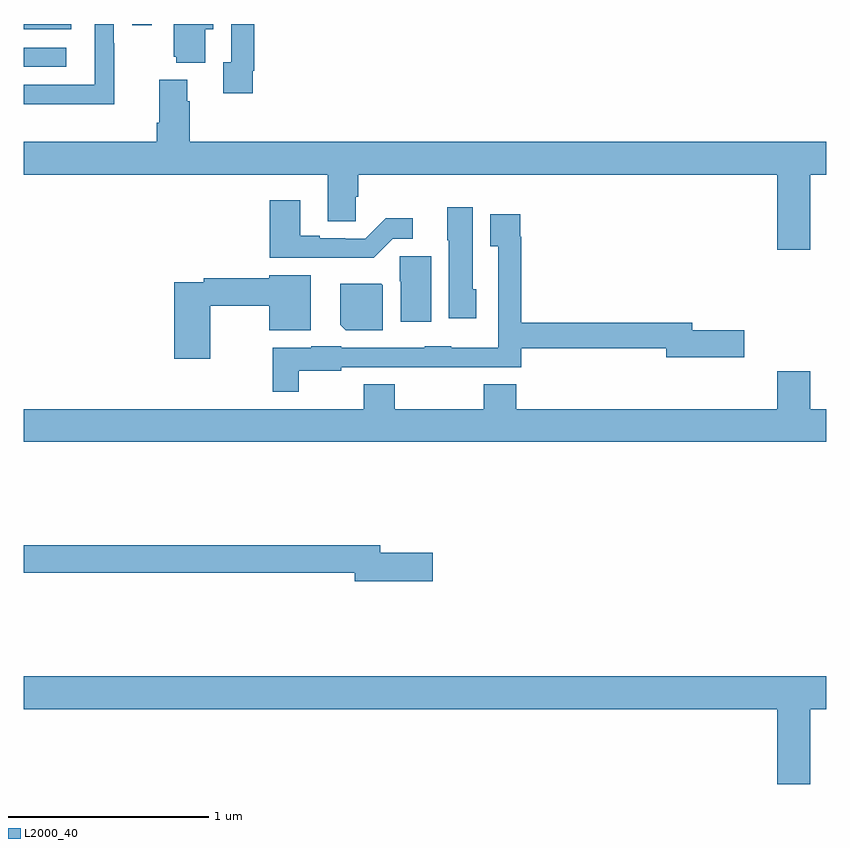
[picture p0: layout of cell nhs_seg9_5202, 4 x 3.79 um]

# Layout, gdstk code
import gdstk
lib = gdstk.Library(unit=1e-6, precision=1e-09)
def R(c, l, rs):  # rectangles x0, y0, x1, y1
    for r in rs: c.add(gdstk.rectangle(r[:2], r[2:], *l))
def P(c, l, *ps):  # polygons
    for p in ps: c.add(gdstk.Polygon(p, *l))
L2000_40 = (2000, 40)

nhs_seg9_5202 = lib.new_cell('nhs_seg9_5202')
R(nhs_seg9_5202, L2000_40, [(413,1202.286,413.212,1202.382), (413,1202.474,413.236,1202.5), (413.541,1202.493,413.637,1202.5)])
P(nhs_seg9_5202, L2000_40, [(414.142,1202.266),(414.149,1202.266),(414.149,1202.5),(414.033,1202.5),(414.033,1202.31),(413.993,1202.31),(413.993,1202.154),(414.142,1202.154)],
  [(413.451,1202.405),(413.448,1202.405),(413.448,1202.5),(413.352,1202.5),(413.352,1202.196),(413,1202.196),(413,1202.099),(413.451,1202.099)],
  [(413.905,1202.474),(413.944,1202.474),(413.944,1202.5),(413.747,1202.5),(413.747,1202.337),(413.759,1202.337),(413.759,1202.306),(413.905,1202.306)],
  [(416.92,1201.748),(417,1201.748),(417,1201.912),(413.828,1201.912),(413.828,1202.114),(413.815,1202.114),(413.815,1202.221),(413.675,1202.221),(413.675,1202.008),(413.663,1202.008),(413.663,1201.912),(413,1201.912),(413,1201.748),(414.515,1201.748),(414.515,1201.516),(414.654,1201.516),(414.654,1201.638),(414.668,1201.638),(414.668,1201.748),(416.756,1201.748),(416.756,1201.374),(416.92,1201.374)],
  [(414.84,1201.428),(414.94,1201.428),(414.94,1201.531),(414.805,1201.531),(414.702,1201.428),(414.602,1201.428),(414.602,1201.431),(414.475,1201.431),(414.475,1201.444),(414.379,1201.444),(414.379,1201.621),(414.227,1201.621),(414.227,1201.334),(414.745,1201.334)],
  [(415.255,1201.176),(415.237,1201.176),(415.237,1201.585),(415.112,1201.585),(415.112,1201.422),(415.118,1201.422),(415.118,1201.032),(415.255,1201.032)],
  [(414.37,1200.77),(414.582,1200.77),(414.582,1200.789),(414.999,1200.789),(414.999,1200.788),(415.231,1200.788),(415.231,1200.789),(415.481,1200.789),(415.481,1200.882),(416.204,1200.882),(416.204,1200.839),(416.593,1200.839),(416.593,1200.974),(416.332,1200.974),(416.332,1201.01),(415.481,1201.01),(415.481,1201.439),(415.474,1201.439),(415.474,1201.552),(415.325,1201.552),(415.325,1201.391),(415.365,1201.391),(415.365,1200.886),(415.131,1200.886),(415.131,1200.892),(414.999,1200.892),(414.999,1200.885),(414.582,1200.885),(414.582,1200.892),(414.432,1200.892),(414.432,1200.886),(414.241,1200.886),(414.241,1200.665),(414.37,1200.665)],
  [(415.03,1201.341),(414.874,1201.341),(414.874,1201.218),(414.878,1201.218),(414.878,1201.014),(415.03,1201.014)],
  [(413.928,1201.096),(414.224,1201.096),(414.224,1200.974),(414.43,1200.974),(414.43,1201.246),(414.224,1201.246),(414.224,1201.232),(413.896,1201.232),(413.896,1201.212),(413.75,1201.212),(413.75,1200.831),(413.928,1200.831)],
  [(414.79,1201.196),(414.782,1201.204),(414.578,1201.204),(414.578,1201),(414.604,1200.974),(414.79,1200.974)],
  [(417,1200.58),(416.92,1200.58),(416.92,1200.769),(416.756,1200.769),(416.756,1200.58),(415.454,1200.58),(415.454,1200.704),(415.294,1200.704),(415.294,1200.58),(414.849,1200.58),(414.849,1200.704),(414.694,1200.704),(414.694,1200.58),(413,1200.58),(413,1200.416),(417,1200.416)],
  [(415.039,1199.864),(414.778,1199.864),(414.778,1199.9),(413,1199.9),(413,1199.764),(414.65,1199.764),(414.65,1199.722),(415.039,1199.722)],
  [(416.92,1199.084),(417,1199.084),(417,1199.248),(413,1199.248),(413,1199.084),(416.756,1199.084),(416.756,1198.71),(416.92,1198.71)])

lib.write_gds('nhs_seg9_5202.gds')
